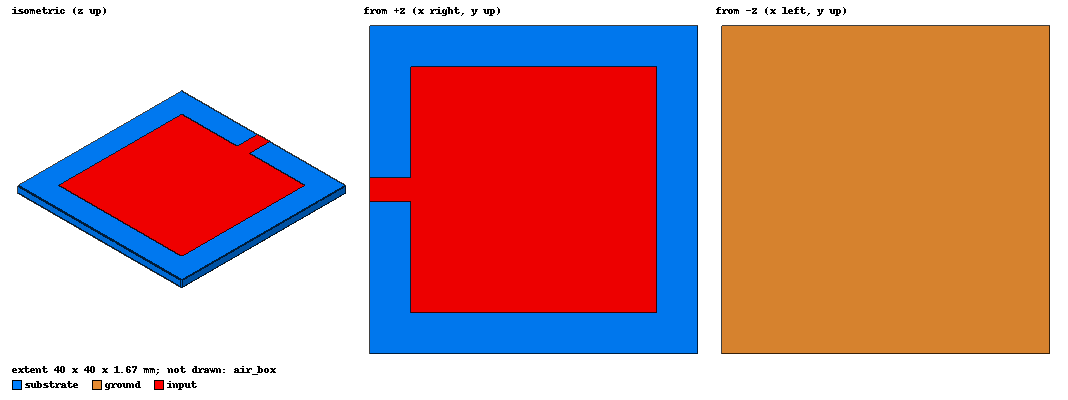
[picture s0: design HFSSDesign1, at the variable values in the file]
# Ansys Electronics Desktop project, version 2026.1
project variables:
  $h = 1.6mm
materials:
  vacuum: permittivity=1
  copper: permeability=0.999991 conductivity=58000000
  FR4_epoxy: permittivity=4.4 dielectric_loss_tangent=0.02

design HFSSDesign1 (HFSS, HFSS Terminal Network, model units mm)
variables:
  h = 1.6mm
  cu_th = 0.035mm
  er = 4.4
  substract_width = 40mm
  substract_height = 40mm
  topPlate_width = 30mm
  topPlate_length = 30mm
  inputStrip_width = 3mm
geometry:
  ground [copper] = box(corner=(0mm, 0mm, 0mm), size=(40mm, 40mm, cu_th))
  substrate [FR4_epoxy] = box(corner=(0mm, 0mm, 0mm), size=(substract_width, substract_height, h))
  top_plate = box(corner=(5mm, 5mm, h+cu_th), size=(topPlate_width, topPlate_length, cu_th))
  input [copper] = box(corner=(0mm, 18.5mm, h+cu_th), size=(5mm, inputStrip_width, cu_th))
  input.unite(top_plate)
  port1 = rectangle(corner=(0mm, 18.5mm, cu_th), y_size=inputStrip_width, z_size=h+cu_th)
  air_box [vacuum] = box(corner=(-80mm, -80mm, -15.165mm), size=((40*5) mm, (40*5) mm, 20*h))
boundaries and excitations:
  Rad1: Radiation Objects=air_box
  1: Lumped Port Objects=port1 LumpedPortType=Modal Modes{Mode1{IntLine{(0, 20, 1.67) -> (0, 20, 0.035)} CharImp=Zpi RenormImp=50ohm}} Impedance=50ohm
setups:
  Setup1: HfssDriven Frequency=1.5GHz MaxDeltaS=0.02 MaximumPasses=6 MinimumPasses=1 MinimumConvergedPasses=1 PercentRefinement=30 BasisOrder=1 PortAccuracy=2 DrivenSolverType="Direct Solver"
    sweep Sweep: 10MHz to 1.5GHz, 401 points; Type=Interpolating InterpTolerance=0.5 InterpMaxSolns=250 PassivityErrorTolerance=0.0001
    sweep Single_100MHz: point 100MHz; Type=Discrete SaveFields
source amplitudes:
  1:1: 1V 0deg
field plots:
  Mag_E1: E Field in substrate on Setup1 : Single_100MHz at Freq=0.1GHz Phase=0deg
  Mesh1: MeshPlots in substrate on Setup1 : LastAdaptive at Freq=1.5GHz Phase=0deg
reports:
  S11 vs. frequency plot: dB(S(1,1)) vs Freq on Setup1 : Sweep
  Input Admittance vs. Frequency: re(Y(1,1)), im(Y(1,1)) vs Freq on Setup1 : Sweep
  Capacitance vs. Frequency: im(Y(1,1))/(2*pi*Freq) vs Freq on Setup1 : Sweep
